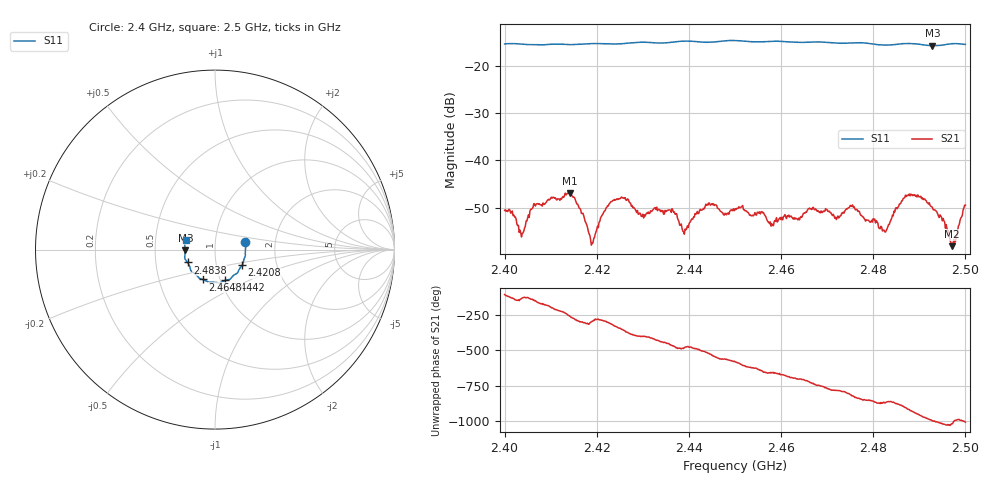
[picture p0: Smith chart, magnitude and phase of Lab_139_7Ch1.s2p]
# Hz S RI R 50
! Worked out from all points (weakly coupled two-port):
!   601 points, 2.4 GHz to 2.5 GHz, reference 50 ohm
!   highest |S21| = -46.92 dB at 2.4142 GHz (marker M1); lowest = -58.2 dB at 2.497 GHz (marker M2)
!   lowest |S11| = -15.6 dB at 2.4928 GHz (marker M3), VSWR 1.40, Z = 35.8 - j0.357 ohm
!   |S11| at or under -10 dB: start of sweep to end of sweep
!   S12 and S22 are empty: the file has one direction only
!   S11 on the Smith chart (normalised r, x): 2.4 GHz: 1.40, +0.12; 2.4208 GHz: 1.33, -0.24; 2.4442 GHz: 1.05, -0.37; 2.4648 GHz: 0.83, -0.28; 2.4838 GHz: 0.73, -0.11; 2.5 GHz: 0.72, +0.08
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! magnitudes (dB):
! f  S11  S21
! 2.4 GHz  -15.2  -50.6
! 2.4037 GHz  -15.3  -56.2
! 2.4067 GHz  -15.4  -49.7
! 2.4142 GHz  -15.4  -46.9
! 2.4167 GHz  -15.3  -51.2
! 2.419 GHz  -15.2  -57.4
! 2.4208 GHz  -15.2  -52.2
! 2.4253 GHz  -15.2  -47.8
! 2.4333 GHz  -15.0  -50.4
! 2.439 GHz  -14.6  -55.7
! 2.4442 GHz  -14.9  -49.4
! 2.45 GHz  -14.5  -50.2
! 2.4578 GHz  -14.7  -53.9
! 2.4648 GHz  -14.9  -51.3
! 2.4667 GHz  -14.8  -50.4
! 2.4753 GHz  -15.0  -49.8
! 2.4833 GHz  -15.5  -53.6
! 2.4838 GHz  -15.4  -52.6
! 2.4875 GHz  -15.2  -47.5
! 2.4928 GHz  -15.6  -50.0
! 2.497 GHz  -15.2  -58.2
! 2.5 GHz  -15.3  -49.5
